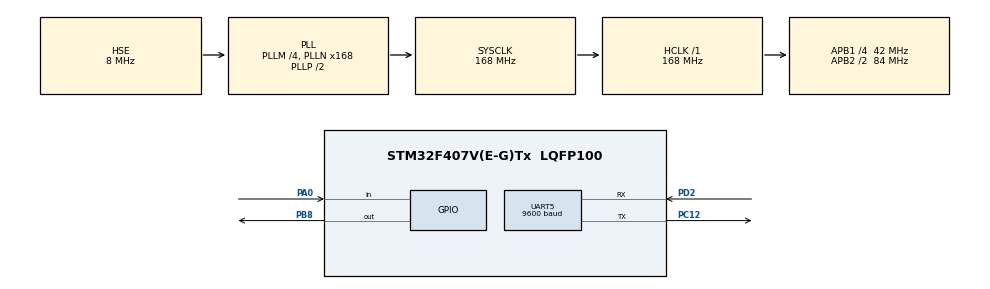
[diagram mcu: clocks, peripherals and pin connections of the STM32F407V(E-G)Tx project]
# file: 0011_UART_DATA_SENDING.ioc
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Mcu.Family=STM32F4
Mcu.Name=STM32F407V(E-G)Tx
Mcu.Package=LQFP100
NVIC.PriorityGroup=NVIC_PRIORITYGROUP_4
PA0-WKUP.Signal=GPIO_Input
PA13.Mode=Serial_Wire
PA13.Signal=SYS_JTMS-SWDIO
PA14.Mode=Serial_Wire
PA14.Signal=SYS_JTCK-SWCLK
PB8.Signal=GPIO_Output
PC12.Mode=Asynchronous
PC12.Signal=UART5_TX
PD2.Mode=Asynchronous
PD2.Signal=UART5_RX
PH0-OSC_IN.Mode=HSE-External-Oscillator
PH0-OSC_IN.Signal=RCC_OSC_IN
PH1-OSC_OUT.Mode=HSE-External-Oscillator
PH1-OSC_OUT.Signal=RCC_OSC_OUT
ProjectManager.HeapSize=0x200
ProjectManager.StackSize=0x400
ProjectManager.TargetToolchain=TrueSTUDIO
RCC.48MHZClocksFreq_Value=84000000
RCC.AHBFreq_Value=168000000
RCC.APB1CLKDivider=RCC_HCLK_DIV4
RCC.APB1Freq_Value=42000000
RCC.APB1TimFreq_Value=84000000
RCC.APB2CLKDivider=RCC_HCLK_DIV2
RCC.APB2Freq_Value=84000000
RCC.APB2TimFreq_Value=168000000
RCC.CortexFreq_Value=168000000
RCC.HCLKFreq_Value=168000000
RCC.HSE_VALUE=8000000
RCC.HSI_VALUE=16000000
RCC.LSE_VALUE=32768
RCC.PLLM=4
RCC.PLLN=168
RCC.PLLSourceVirtual=RCC_PLLSOURCE_HSE
RCC.SYSCLKFreq_VALUE=168000000
RCC.SYSCLKSource=RCC_SYSCLKSOURCE_PLLCLK
RCC.VCOOutputFreq_Value=336000000
UART5.BaudRate=9600
UART5.VirtualMode=Asynchronous
board=custom

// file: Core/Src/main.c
/* USER CODE BEGIN Header */
/**
  ******************************************************************************
  * @file           : main.c
  * @brief          : Main program body
  ******************************************************************************
  * @attention
  *
  * <h2><center>&copy; Copyright (c) 2021 STMicroelectronics.
  * All rights reserved.</center></h2>
  *
  * This software component is licensed by ST under BSD 3-Clause license,
  * the "License"; You may not use this file except in compliance with the
  * License. You may obtain a copy of the License at:
  *                        opensource.org/licenses/BSD-3-Clause
  *
  ******************************************************************************
  */
/* USER CODE END Header */
#include "main.h"

/* USER CODE BEGIN Includes */
#include "string.h"
/* USER CODE END Includes */

/* USER CODE BEGIN PD */
char data[32] = " ";
int i=0;
/* USER CODE END PD */

UART_HandleTypeDef huart5;

void SystemClock_Config(void);
static void MX_GPIO_Init(void);
static void MX_UART5_Init(void);

int main(void)
{

  /* MCU Configuration--------------------------------------------------------*/

  /* Reset of all peripherals, Initializes the Flash interface and the Systick. */
  HAL_Init();

  /* Configure the system clock */
  SystemClock_Config();

  /* Initialize all configured peripherals */
  MX_GPIO_Init();
  MX_UART5_Init();

  /* Infinite loop */
  while (1)
  {

    /* USER CODE BEGIN 3 */

	  if(HAL_GPIO_ReadPin(GPIOA, GPIO_PIN_0))
	  {
		  while(HAL_GPIO_ReadPin(GPIOA, GPIO_PIN_0));
		  HAL_Delay(200);
		  i++;

		  if(i%2==1)
		  {

			  sprintf(data,"\n\r LED YANDI");
	          HAL_UART_Transmit(&huart5, (uint8_t*)data,strlen(data),1000);
			  HAL_GPIO_WritePin(GPIOB, GPIO_PIN_8, GPIO_PIN_SET);

		  }

		  else if (i%2==0)
		  {
			  sprintf(data,"\n\r LED SONDU");
			  HAL_UART_Transmit(&huart5, (uint8_t*)data,strlen(data),1000);
			  HAL_GPIO_WritePin(GPIOB, GPIO_PIN_8, GPIO_PIN_RESET);

		  }

	  }

  }
  /* USER CODE END 3 */
}

void SystemClock_Config(void)
{
  RCC_OscInitTypeDef RCC_OscInitStruct = {0};
  RCC_ClkInitTypeDef RCC_ClkInitStruct = {0};

  /** Configure the main internal regulator output voltage
  */
  __HAL_RCC_PWR_CLK_ENABLE();
  __HAL_PWR_VOLTAGESCALING_CONFIG(PWR_REGULATOR_VOLTAGE_SCALE1);
  /** Initializes the RCC Oscillators according to the specified parameters
  * in the RCC_OscInitTypeDef structure.
  */
  RCC_OscInitStruct.OscillatorType = RCC_OSCILLATORTYPE_HSE;
  RCC_OscInitStruct.HSEState = RCC_HSE_ON;
  RCC_OscInitStruct.PLL.PLLState = RCC_PLL_ON;
  RCC_OscInitStruct.PLL.PLLSource = RCC_PLLSOURCE_HSE;
  RCC_OscInitStruct.PLL.PLLM = 4;
  RCC_OscInitStruct.PLL.PLLN = 168;
  RCC_OscInitStruct.PLL.PLLP = RCC_PLLP_DIV2;
  RCC_OscInitStruct.PLL.PLLQ = 4;
  if (HAL_RCC_OscConfig(&RCC_OscInitStruct) != HAL_OK)
  {
    Error_Handler();
  }
  /** Initializes the CPU, AHB and APB buses clocks
  */
  RCC_ClkInitStruct.ClockType = RCC_CLOCKTYPE_HCLK|RCC_CLOCKTYPE_SYSCLK
                              |RCC_CLOCKTYPE_PCLK1|RCC_CLOCKTYPE_PCLK2;
  RCC_ClkInitStruct.SYSCLKSource = RCC_SYSCLKSOURCE_PLLCLK;
  RCC_ClkInitStruct.AHBCLKDivider = RCC_SYSCLK_DIV1;
  RCC_ClkInitStruct.APB1CLKDivider = RCC_HCLK_DIV4;
  RCC_ClkInitStruct.APB2CLKDivider = RCC_HCLK_DIV2;

  if (HAL_RCC_ClockConfig(&RCC_ClkInitStruct, FLASH_LATENCY_5) != HAL_OK)
  {
    Error_Handler();
  }
}

static void MX_UART5_Init(void)
{

  huart5.Instance = UART5;
  huart5.Init.BaudRate = 9600;
  huart5.Init.WordLength = UART_WORDLENGTH_8B;
  huart5.Init.StopBits = UART_STOPBITS_1;
  huart5.Init.Parity = UART_PARITY_NONE;
  huart5.Init.Mode = UART_MODE_TX_RX;
  huart5.Init.HwFlowCtl = UART_HWCONTROL_NONE;
  huart5.Init.OverSampling = UART_OVERSAMPLING_16;
  if (HAL_UART_Init(&huart5) != HAL_OK)
  {
    Error_Handler();
  }

}

static void MX_GPIO_Init(void)
{
  GPIO_InitTypeDef GPIO_InitStruct = {0};

  /* GPIO Ports Clock Enable */
  __HAL_RCC_GPIOH_CLK_ENABLE();
  __HAL_RCC_GPIOA_CLK_ENABLE();
  __HAL_RCC_GPIOC_CLK_ENABLE();
  __HAL_RCC_GPIOD_CLK_ENABLE();
  __HAL_RCC_GPIOB_CLK_ENABLE();

  /*Configure GPIO pin Output Level */
  HAL_GPIO_WritePin(GPIOB, GPIO_PIN_8, GPIO_PIN_RESET);

  /*Configure GPIO pin : PA0 */
  GPIO_InitStruct.Pin = GPIO_PIN_0;
  GPIO_InitStruct.Mode = GPIO_MODE_INPUT;
  GPIO_InitStruct.Pull = GPIO_NOPULL;
  HAL_GPIO_Init(GPIOA, &GPIO_InitStruct);

  /*Configure GPIO pin : PB8 */
  GPIO_InitStruct.Pin = GPIO_PIN_8;
  GPIO_InitStruct.Mode = GPIO_MODE_OUTPUT_PP;
  GPIO_InitStruct.Pull = GPIO_NOPULL;
  GPIO_InitStruct.Speed = GPIO_SPEED_FREQ_LOW;
  HAL_GPIO_Init(GPIOB, &GPIO_InitStruct);

}

void Error_Handler(void)
{
  __disable_irq();
  while (1)
  {
  }
}

/************************ (C) COPYRIGHT STMicroelectronics *****END OF FILE****/
